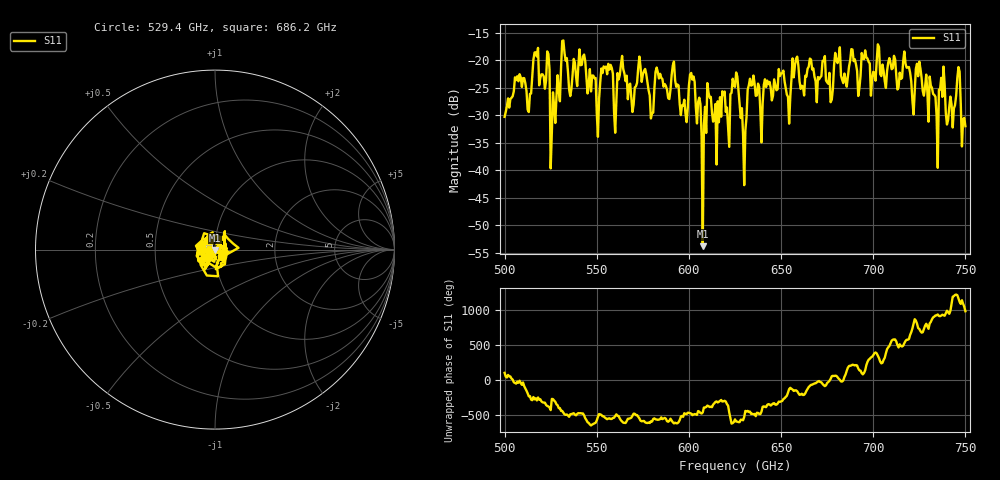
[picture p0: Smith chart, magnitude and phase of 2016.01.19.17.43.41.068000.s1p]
!Created with skrf (http://scikit-rf.org).
# GHz S RI R 50.0
!freq ReS11 ImS11
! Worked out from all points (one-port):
!   401 points, 500 GHz to 750 GHz, reference 50 ohm
!   lowest |S11| = -53.8 dB at 607.5 GHz (marker M1), VSWR 1.00, Z = 49.9 - j0.197 ohm
!   |S11| at or under -10 dB: start of sweep to end of sweep
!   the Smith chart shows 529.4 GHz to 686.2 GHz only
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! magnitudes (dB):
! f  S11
! 500 GHz  -30.3
! 506.9 GHz  -22.9
! 513.1 GHz  -29.4
! 516.9 GHz  -18.5
! 523.1 GHz  -18.4
! 526.2 GHz  -25.8
! 531.2 GHz  -16.5
! 541.9 GHz  -20.8
! 550.6 GHz  -33.9
! 562.5 GHz  -22.7
! 579.4 GHz  -30.6
! 583.1 GHz  -22.1
! 593.8 GHz  -24.4
! 598.1 GHz  -29.7
! 601.9 GHz  -23.5
! 607.5 GHz  -53.8
! 611.2 GHz  -26.8
! 621.2 GHz  -32.1
! 625 GHz  -24.8
! 629.4 GHz  -33.6
! 633.8 GHz  -24.6
! 639.4 GHz  -34.9
! 656.2 GHz  -19.7
! 687.5 GHz  -20.0
! 718.8 GHz  -21.3
! 733.8 GHz  -26.6
! 746.2 GHz  -21.2
! 750 GHz  -32.0
